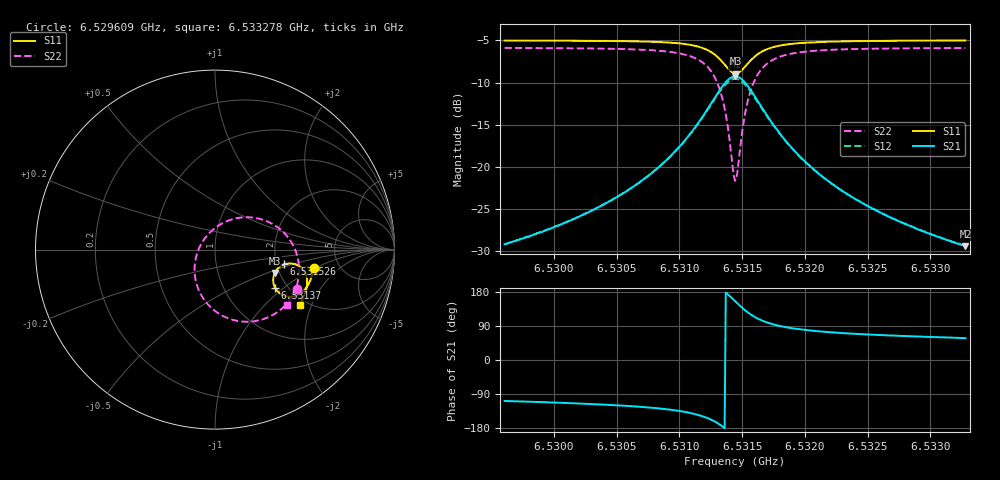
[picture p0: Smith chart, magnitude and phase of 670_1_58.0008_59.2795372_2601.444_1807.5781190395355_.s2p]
#  HZ  S  RI  R  50.00
! Rohde & Schwarz Vector Network Analyzer
! Rohde-Schwarz,ZNB20-2Port,1311601062101988,3.16
! Created: UTC 3/21/2024, 1:20:19 AM
! freq[Hz]  re:S11  im:S11  re:S21  im:S21  re:S12  im:S12  re:S22  im:S22
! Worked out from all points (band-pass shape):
!   401 points, 6.529609 GHz to 6.533278 GHz, reference 50 ohm
!   highest |S21| = -9.28 dB at 6.531443 GHz (marker M1); lowest = -29.4 dB at 6.533278 GHz (marker M2)
!   |S21| within 3 dB of the highest: 6.531262 GHz to 6.531628 GHz (366.4 kHz wide, 0.00561 % of centre)
!   lowest |S11| = -8.9 dB at 6.531452 GHz (marker M3), VSWR 2.11, Z = 94.3 - j28.3 ohm
!   |S11| at or under -10 dB: nowhere
!   |S22| runs from -21.7 to -5.9 dB; largest |S21 - S12| = 0.014
!   S11 on the Smith chart (normalised r, x): 6.529609 GHz: 3.24, -0.96; 6.53137 GHz: 1.73, -0.87; 6.531526 GHz: 2.20, -0.43; 6.533278 GHz: 1.83, -1.64
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6.5296086e9  0.5512 -0.1013  -0.0108 -0.033  -0.0116 -0.0328  0.4578 -0.2181
6.5302232e9  0.5377 -0.1535  -0.022 -0.0467  -0.023 -0.0462  0.4215 -0.2765
6.5305718e9  0.5239 -0.1872  -0.0365 -0.061  -0.0382 -0.0601  0.3838 -0.3191
6.5308378e9  0.5049 -0.2176  -0.061 -0.079  -0.0634 -0.077  0.3288 -0.3603
6.531058e9  0.4725 -0.2471  -0.1092 -0.0991  -0.1123 -0.095  0.2329 -0.3968
6.531214e9  0.4216 -0.2628  -0.1888 -0.1006  -0.1903 -0.0921  0.0897 -0.3885
6.5313057e9  0.3709 -0.2502  -0.2663 -0.062  -0.2635 -0.0506  -0.0368 -0.3083
6.5313424e9  0.3489 -0.2325  -0.2986 -0.0256  -0.2924 -0.0139  -0.0834 -0.2409
6.5313699e9  0.3348 -0.2126  -0.3175 0.0124  -0.3085 0.0231  -0.1071 -0.1742
6.531425e9  0.3248 -0.1591  -0.3234 0.1089  -0.3102 0.1141  -0.0979 -0.0153
6.5314433e9  0.329 -0.1399  -0.3125 0.1423  -0.2991 0.1448  -0.0741 0.0364
6.5314525e9  0.3325 -0.1308  -0.3047 0.1578  -0.2913 0.1592  -0.0585 0.0603
6.5314708e9  0.3426 -0.1141  -0.2847 0.1861  -0.272 0.1853  -0.0206 0.1028
6.5315259e9  0.386 -0.0822  -0.2048 0.2385  -0.1966 0.234  0.1187 0.1745
6.5315534e9  0.4093 -0.0772  -0.1641 0.2462  -0.1579 0.2414  0.1876 0.1802
6.5315901e9  0.4367 -0.0792  -0.1166 0.243  -0.1127 0.2385  0.2663 0.1665
6.5316818e9  0.4816 -0.1028  -0.0405 0.2065  -0.0389 0.204  0.3889 0.089
6.5318194e9  0.5072 -0.1428  0.00418 0.1509  0.00531 0.1501  0.4543 -0.0212
6.532058e9  0.5135 -0.1903  0.0216 0.0959  0.0228 0.0954  0.4679 -0.133
6.5323515e9  0.5068 -0.2281  0.0231 0.0638  0.0241 0.0634  0.4543 -0.2049
6.5326726e9  0.4952 -0.2593  0.0215 0.0456  0.0223 0.0454  0.4357 -0.2523
6.5332781e9  0.4708 -0.3062  0.0181 0.0285  0.0186 0.0284  0.4008 -0.3102
